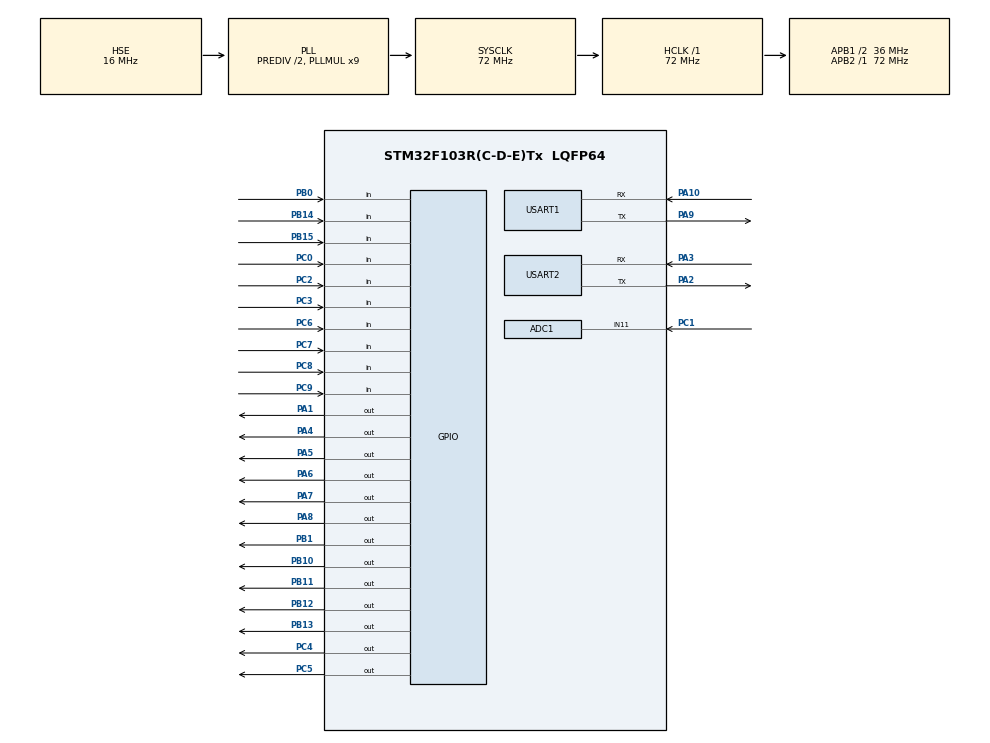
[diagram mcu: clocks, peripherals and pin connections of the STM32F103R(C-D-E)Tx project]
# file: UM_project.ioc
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ADC1.Channel-1\#ChannelRegularConversion=ADC_CHANNEL_11
ADC1.NbrOfConversionFlag=1
ADC1.Rank-1\#ChannelRegularConversion=1
ADC1.SamplingTime-1\#ChannelRegularConversion=ADC_SAMPLETIME_1CYCLE_5
ADC1.master=1
FREERTOS.HEAP_NUMBER=4
FREERTOS.Tasks01=UM_Task01,0,256,Start_UM_Task01,Default,NULL,Dynamic,NULL,NULL;UM_Task02,-1,256,Start_UM_Task02,Default,NULL,Dynamic,NULL,NULL;UM_Task03,-2,256,Start_UM_Task03,Default,NULL,Dynamic,NULL,NULL
FREERTOS.configMINIMAL_STACK_SIZE=128
FREERTOS.configTOTAL_HEAP_SIZE=10240
Mcu.Family=STM32F1
Mcu.Name=STM32F103R(C-D-E)Tx
Mcu.Package=LQFP64
NVIC.PriorityGroup=NVIC_PRIORITYGROUP_4
NVIC.TIM6_IRQn=true\:6\:0\:true\:false\:true\:true\:true\:true
NVIC.USART2_IRQn=true\:5\:0\:true\:false\:true\:true\:true\:true
PA1.GPIO_ModeDefaultOutputPP=GPIO_MODE_OUTPUT_PP
PA1.GPIO_PuPd=GPIO_NOPULL
PA1.GPIO_Speed=GPIO_SPEED_FREQ_LOW
PA1.PinState=GPIO_PIN_RESET
PA1.Signal=GPIO_Output
PA10.Mode=Asynchronous
PA10.Signal=USART1_RX
PA13.Mode=Serial_Wire
PA13.Signal=SYS_JTMS-SWDIO
PA14.Mode=Serial_Wire
PA14.Signal=SYS_JTCK-SWCLK
PA2.GPIO_Speed=GPIO_SPEED_FREQ_HIGH
PA2.Mode=Asynchronous
PA2.Signal=USART2_TX
PA3.GPIO_PuPd=GPIO_NOPULL
PA3.Mode=Asynchronous
PA3.Signal=USART2_RX
PA4.GPIO_ModeDefaultOutputPP=GPIO_MODE_OUTPUT_PP
PA4.GPIO_PuPd=GPIO_NOPULL
PA4.GPIO_Speed=GPIO_SPEED_FREQ_LOW
PA4.PinState=GPIO_PIN_RESET
PA4.Signal=GPIO_Output
PA5.GPIO_ModeDefaultOutputPP=GPIO_MODE_OUTPUT_PP
PA5.GPIO_PuPd=GPIO_NOPULL
PA5.GPIO_Speed=GPIO_SPEED_FREQ_LOW
PA5.PinState=GPIO_PIN_RESET
PA5.Signal=GPIO_Output
PA6.GPIO_ModeDefaultOutputPP=GPIO_MODE_OUTPUT_PP
PA6.GPIO_PuPd=GPIO_NOPULL
PA6.GPIO_Speed=GPIO_SPEED_FREQ_LOW
PA6.PinState=GPIO_PIN_RESET
PA6.Signal=GPIO_Output
PA7.GPIO_ModeDefaultOutputPP=GPIO_MODE_OUTPUT_PP
PA7.GPIO_PuPd=GPIO_NOPULL
PA7.GPIO_Speed=GPIO_SPEED_FREQ_LOW
PA7.PinState=GPIO_PIN_RESET
PA7.Signal=GPIO_Output
PA8.GPIO_ModeDefaultOutputPP=GPIO_MODE_OUTPUT_PP
PA8.GPIO_PuPd=GPIO_NOPULL
PA8.GPIO_Speed=GPIO_SPEED_FREQ_LOW
PA8.PinState=GPIO_PIN_RESET
PA8.Signal=GPIO_Output
PA9.Mode=Asynchronous
PA9.Signal=USART1_TX
PB0.GPIO_Mode=GPIO_MODE_INPUT
PB0.GPIO_PuPd=GPIO_NOPULL
PB0.Signal=GPIO_Input
PB1.GPIO_ModeDefaultOutputPP=GPIO_MODE_OUTPUT_PP
PB1.GPIO_PuPd=GPIO_NOPULL
PB1.GPIO_Speed=GPIO_SPEED_FREQ_LOW
PB1.PinState=GPIO_PIN_RESET
PB1.Signal=GPIO_Output
PB10.GPIO_ModeDefaultOutputPP=GPIO_MODE_OUTPUT_PP
PB10.GPIO_PuPd=GPIO_NOPULL
PB10.GPIO_Speed=GPIO_SPEED_FREQ_LOW
PB10.PinState=GPIO_PIN_RESET
PB10.Signal=GPIO_Output
PB11.GPIO_ModeDefaultOutputPP=GPIO_MODE_OUTPUT_PP
PB11.GPIO_PuPd=GPIO_NOPULL
PB11.GPIO_Speed=GPIO_SPEED_FREQ_LOW
PB11.PinState=GPIO_PIN_RESET
PB11.Signal=GPIO_Output
PB12.GPIO_ModeDefaultOutputPP=GPIO_MODE_OUTPUT_PP
PB12.GPIO_PuPd=GPIO_NOPULL
PB12.GPIO_Speed=GPIO_SPEED_FREQ_LOW
PB12.PinState=GPIO_PIN_RESET
PB12.Signal=GPIO_Output
PB13.GPIO_ModeDefaultOutputPP=GPIO_MODE_OUTPUT_PP
PB13.GPIO_PuPd=GPIO_NOPULL
PB13.GPIO_Speed=GPIO_SPEED_FREQ_LOW
PB13.PinState=GPIO_PIN_RESET
PB13.Signal=GPIO_Output
PB14.GPIO_Mode=GPIO_MODE_INPUT
PB14.GPIO_PuPd=GPIO_PULLUP
PB14.Signal=GPIO_Input
PB15.GPIO_Mode=GPIO_MODE_INPUT
PB15.GPIO_PuPd=GPIO_PULLUP
PB15.Signal=GPIO_Input
PC0.GPIO_Mode=GPIO_MODE_INPUT
PC0.GPIO_PuPd=GPIO_PULLDOWN
PC0.Signal=GPIO_Input
PC1.Signal=ADCx_IN11
PC2.GPIO_Mode=GPIO_MODE_INPUT
PC2.GPIO_PuPd=GPIO_PULLDOWN
PC2.Signal=GPIO_Input
PC3.GPIO_Mode=GPIO_MODE_INPUT
PC3.GPIO_PuPd=GPIO_NOPULL
PC3.Signal=GPIO_Input
PC4.GPIO_ModeDefaultOutputPP=GPIO_MODE_OUTPUT_PP
PC4.GPIO_PuPd=GPIO_NOPULL
PC4.GPIO_Speed=GPIO_SPEED_FREQ_LOW
PC4.PinState=GPIO_PIN_RESET
PC4.Signal=GPIO_Output
PC5.GPIO_ModeDefaultOutputPP=GPIO_MODE_OUTPUT_PP
PC5.GPIO_PuPd=GPIO_NOPULL
PC5.GPIO_Speed=GPIO_SPEED_FREQ_LOW
PC5.PinState=GPIO_PIN_RESET
PC5.Signal=GPIO_Output
PC6.GPIO_Mode=GPIO_MODE_INPUT
PC6.GPIO_PuPd=GPIO_PULLUP
PC6.Signal=GPIO_Input
PC7.GPIO_Mode=GPIO_MODE_INPUT
PC7.GPIO_PuPd=GPIO_PULLUP
PC7.Signal=GPIO_Input
PC8.GPIO_Mode=GPIO_MODE_INPUT
PC8.GPIO_PuPd=GPIO_PULLUP
PC8.Signal=GPIO_Input
PC9.GPIO_Mode=GPIO_MODE_INPUT
PC9.GPIO_PuPd=GPIO_PULLUP
PC9.Signal=GPIO_Input
PD0-OSC_IN.Mode=HSE-External-Oscillator
PD0-OSC_IN.Signal=RCC_OSC_IN
PD1-OSC_OUT.Mode=HSE-External-Oscillator
PD1-OSC_OUT.Signal=RCC_OSC_OUT
ProjectManager.HeapSize=0x2000
ProjectManager.StackSize=0x2000
ProjectManager.TargetToolchain=MDK-ARM V5
RCC.ADCPresc=RCC_ADCPCLK2_DIV6
RCC.AHBFreq_Value=72000000
RCC.APB1CLKDivider=RCC_HCLK_DIV2
RCC.APB1Freq_Value=36000000
RCC.APB1TimFreq_Value=72000000
RCC.APB2Freq_Value=72000000
RCC.APB2TimFreq_Value=72000000
RCC.HCLKFreq_Value=72000000
RCC.HSEDivPLL=RCC_HSE_PREDIV_DIV2
RCC.HSE_VALUE=16000000
RCC.PLLMUL=RCC_PLL_MUL9
RCC.PLLSourceVirtual=RCC_PLLSOURCE_HSE
RCC.PREFETCH_ENABLE=1
RCC.SYSCLKFreq_VALUE=72000000
RCC.SYSCLKSource=RCC_SYSCLKSOURCE_PLLCLK
RCC.USBFreq_Value=72000000
SH.ADCx_IN11.0=ADC1_IN11,IN11
TIM6.AutoReloadPreload=TIM_AUTORELOAD_PRELOAD_ENABLE
TIM6.Period=9999
TIM6.Prescaler=7199
USART1.VirtualMode=VM_ASYNC
USART2.VirtualMode=VM_ASYNC
VP_FREERTOS_VS_CMSIS_V1.Mode=CMSIS_V1
VP_TIM6_VS_ClockSourceINT.Mode=Enable_Timer
board=custom

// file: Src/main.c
/* USER CODE BEGIN Header */
/**
  ******************************************************************************
  * @file           : main.c
  * @brief          : Main program body
  ******************************************************************************
  * @attention
  *
  * <h2><center>&copy; Copyright (c) 2019 STMicroelectronics.
  * All rights reserved.</center></h2>
  *
  * This software component is licensed by ST under BSD 3-Clause license,
  * the "License"; You may not use this file except in compliance with the
  * License. You may obtain a copy of the License at:
  *                        opensource.org/licenses/BSD-3-Clause
  *
  ******************************************************************************
  */
/* USER CODE END Header */

#include "main.h"
#include "cmsis_os.h"
#include "adc.h"
#include "tim.h"
#include "usart.h"
#include "gpio.h"

/* USER CODE BEGIN Includes */
#include "stdio.h"
/* USER CODE END Includes */

/* USER CODE BEGIN PTD */

extern uint8_t Usart_Rx_Buffer[1];

//SemaphoreHandle_t xSemaphore1 = NULL;
//SemaphoreHandle_t xSemaphore2 = NULL;
//uint8_t Tx_Buffer[] = "*********串口发送**********\r\n";
//uint8_t Usart_Rx_Buffer[1];
//uint8_t Usart_Tx_Buffer[1];

//extern uint8_t Tim_Count;
//extern uint8_t L_Flag;
//extern uint8_t H_Flag;
//extern uint8_t System_Led_Flag;
//extern uint8_t X_Standard_Flag;
//extern uint8_t Y_Low_Flag;
//extern uint8_t Z_High_Flag;
//extern uint8_t Switch_Flag;
//extern uint8_t Start_Flag;

//extern uint16_t AD_Value;
/* USER CODE END PTD */

/* USER CODE BEGIN PV */
#define  USE_FULL_ASSERT
/* USER CODE END PV */

void SystemClock_Config(void);
void MX_FREERTOS_Init(void);

/* USER CODE BEGIN 0 */
SemaphoreHandle_t Test_Start_Semaphore = NULL;//Production test start
SemaphoreHandle_t Standard_Semaphore = NULL;//Start switch standard illumination
SemaphoreHandle_t Standard_Success_Semaphore = NULL;//Switch standard illumination success
SemaphoreHandle_t low_Semaphore = NULL;//Start switch low illumination
SemaphoreHandle_t low_Success_Semaphore = NULL;//Switch low illumination success
SemaphoreHandle_t High_Semaphore = NULL;//Start switch high illumination
SemaphoreHandle_t High_Success_Semaphore = NULL;//Switch high illumination success
SemaphoreHandle_t Low_Failure_Semaphore = NULL;//low illumination failure
SemaphoreHandle_t High_Failure_Semaphore = NULL;//high illumination failure
SemaphoreHandle_t Test_Pass_Semaphore = NULL;//Production test pass

//void HAL_TIM_PeriodElapsedCallback(TIM_HandleTypeDef *htim)
//{
//    /* Prevent unused argument(s) compilation warning */
////    UNUSED(htim);
////    printf("AD_Value = %d\r\n", AD_Value);
////    printf("Switch_Flag = %d,Start_Flag = %d,HAL_GPIO_ReadPin(GPIOC, GPIO_PIN_2) = %d\r\n", Switch_Flag,Start_Flag,HAL_GPIO_ReadPin(GPIOC, GPIO_PIN_2));
//    if (1 == System_Led_Flag)
//    {
//        if(GPIO_PIN_RESET == HAL_GPIO_ReadPin(GPIOA, GPIO_PIN_8))
//            HAL_GPIO_WritePin(GPIOA, GPIO_PIN_8, GPIO_PIN_SET);
//        else
//            HAL_GPIO_WritePin(GPIOA, GPIO_PIN_8, GPIO_PIN_RESET);
//    }
//    if (1 == L_Flag)
//    {
////        printf("AD_Value032 = %d\r\n", AD_Value);
//        if(!HAL_GPIO_ReadPin(GPIOA, GPIO_PIN_6))
//            HAL_GPIO_WritePin(GPIOA, GPIO_PIN_6, GPIO_PIN_SET);
//        else
//            HAL_GPIO_WritePin(GPIOA, GPIO_PIN_6, GPIO_PIN_RESET);
//    }
//    else if (1 == H_Flag)
//    {
////        printf("AD_Value033 = %d\r\n", AD_Value);
//        if(!HAL_GPIO_ReadPin(GPIOC, GPIO_PIN_4))
//            HAL_GPIO_WritePin(GPIOC, GPIO_PIN_4, GPIO_PIN_SET);
//        else
//            HAL_GPIO_WritePin(GPIOC, GPIO_PIN_4, GPIO_PIN_RESET);
//    }
//    if ((1 == X_Standard_Flag) || (1 == Y_Low_Flag) || (1 == Z_High_Flag))
//    {
//        Tim_Count++;
//        printf("Tim_Count = %d\r\n", Tim_Count);
//    }
//    /* NOTE : This function should not be modified, when the callback is needed,
//              the HAL_TIM_PeriodElapsedCallback could be implemented in the user file
//     */
//}

//void HAL_UART_RxCpltCallback(UART_HandleTypeDef *huart)
//{
////    printf ("++++++++++++++++++++++++++++++++++++++++++++++++\r\n");
//    if(huart->Instance == USART2)
//	{
////        printf ("----------------------------------------------\r\n");
////        printf ("Usart_Rx_Buffer = %d\r\n",(uint32_t)Usart_Rx_Buffer);
////		HAL_UART_Transmit(&huart2,Usart_Rx_Buffer,1,100);
//		HAL_UART_Receive_IT(&huart2,Usart_Rx_Buffer,1);
//	}
//}
/* USER CODE END 0 */

int main(void)
{

  /* MCU Configuration--------------------------------------------------------*/

  /* Reset of all peripherals, Initializes the Flash interface and the Systick. */
  HAL_Init();

  /* USER CODE BEGIN Init */
//	xSemaphore1 = xSemaphoreCreateBinary();
//	xSemaphore2 = xSemaphoreCreateBinary();
//    if( xSemaphore1 == NULL || xSemaphore2 == NULL)
//	{
//			// The semaphore was created successfully.
//        printf("The semaphore was created successfully\r\n");
//			// The semaphore can now be used.
//	}
  /* USER CODE END Init */

  /* Configure the system clock */
  SystemClock_Config();

  /* Initialize all configured peripherals */
  MX_GPIO_Init();
  MX_TIM6_Init();
  MX_USART1_UART_Init();
  MX_ADC1_Init();
  MX_USART2_UART_Init();
  /* USER CODE BEGIN 2 */

    HAL_UART_Receive_IT(&huart2,Usart_Rx_Buffer,1);
    HAL_TIM_Base_Start_IT(&htim6);
//    HAL_TIM_IC_Start_IT(&htim2, TIM_CHANNEL_4);
    Test_Start_Semaphore = xSemaphoreCreateBinary();
    Standard_Semaphore = xSemaphoreCreateBinary();
    Standard_Success_Semaphore = xSemaphoreCreateBinary();
    low_Semaphore = xSemaphoreCreateBinary();
    low_Success_Semaphore = xSemaphoreCreateBinary();
    High_Semaphore = xSemaphoreCreateBinary();
    High_Success_Semaphore = xSemaphoreCreateBinary();
    Low_Failure_Semaphore = xSemaphoreCreateBinary();
    High_Failure_Semaphore = xSemaphoreCreateBinary();
    Test_Pass_Semaphore = xSemaphoreCreateBinary();

  /* USER CODE END 2 */

  /* Call init function for freertos objects (in freertos.c) */
  MX_FREERTOS_Init();

  /* Start scheduler */
  osKernelStart();

  /* We should never get here as control is now taken by the scheduler */

  /* Infinite loop */
    while (1)
    {

    }
}

void SystemClock_Config(void)
{
  RCC_OscInitTypeDef RCC_OscInitStruct = {0};
  RCC_ClkInitTypeDef RCC_ClkInitStruct = {0};
  RCC_PeriphCLKInitTypeDef PeriphClkInit = {0};

  /** Initializes the CPU, AHB and APB busses clocks
  */
  RCC_OscInitStruct.OscillatorType = RCC_OSCILLATORTYPE_HSE;
  RCC_OscInitStruct.HSEState = RCC_HSE_ON;
  RCC_OscInitStruct.HSEPredivValue = RCC_HSE_PREDIV_DIV2;
  RCC_OscInitStruct.HSIState = RCC_HSI_ON;
  RCC_OscInitStruct.PLL.PLLState = RCC_PLL_ON;
  RCC_OscInitStruct.PLL.PLLSource = RCC_PLLSOURCE_HSE;
  RCC_OscInitStruct.PLL.PLLMUL = RCC_PLL_MUL9;
  if (HAL_RCC_OscConfig(&RCC_OscInitStruct) != HAL_OK)
  {
    Error_Handler();
  }
  /** Initializes the CPU, AHB and APB busses clocks
  */
  RCC_ClkInitStruct.ClockType = RCC_CLOCKTYPE_HCLK|RCC_CLOCKTYPE_SYSCLK
                              |RCC_CLOCKTYPE_PCLK1|RCC_CLOCKTYPE_PCLK2;
  RCC_ClkInitStruct.SYSCLKSource = RCC_SYSCLKSOURCE_PLLCLK;
  RCC_ClkInitStruct.AHBCLKDivider = RCC_SYSCLK_DIV1;
  RCC_ClkInitStruct.APB1CLKDivider = RCC_HCLK_DIV2;
  RCC_ClkInitStruct.APB2CLKDivider = RCC_HCLK_DIV1;

  if (HAL_RCC_ClockConfig(&RCC_ClkInitStruct, FLASH_LATENCY_2) != HAL_OK)
  {
    Error_Handler();
  }
  PeriphClkInit.PeriphClockSelection = RCC_PERIPHCLK_ADC;
  PeriphClkInit.AdcClockSelection = RCC_ADCPCLK2_DIV6;
  if (HAL_RCCEx_PeriphCLKConfig(&PeriphClkInit) != HAL_OK)
  {
    Error_Handler();
  }
}

void Error_Handler(void)
{
}

/************************ (C) COPYRIGHT STMicroelectronics *****END OF FILE****/

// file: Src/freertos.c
/* USER CODE BEGIN Header */
/**
  ******************************************************************************
  * File Name          : freertos.c
  * Description        : Code for freertos applications
  ******************************************************************************
  * @attention
  *
  * <h2><center>&copy; Copyright (c) 2019 STMicroelectronics.
  * All rights reserved.</center></h2>
  *
  * This software component is licensed by ST under Ultimate Liberty license
  * SLA0044, the "License"; You may not use this file except in compliance with
  * the License. You may obtain a copy of the License at:
  *                             www.st.com/SLA0044
  *
  ******************************************************************************
  */
/* USER CODE END Header */

#include "FreeRTOS.h"
#include "task.h"
#include "main.h"
#include "cmsis_os.h"

/* USER CODE BEGIN Includes */
#include "stdio.h"
/* USER CODE END Includes */

/* USER CODE BEGIN PTD */

uint8_t Switch_Flag = 0;
uint8_t Gpio_Pin_State = 0;
uint8_t Start_Flag = 0;
uint8_t Switch_Light_Flag = 0;
uint8_t Task1_Print_Time = 0;
uint8_t Task2_Print_Time = 0;

uint16_t AD_Value = 0;

volatile uint8_t L_Flag = 0;
volatile uint8_t H_Flag = 0;
volatile uint8_t System_Led_Flag = 0;
volatile uint8_t System_Led_Count = 0;
volatile uint8_t Tim_Count = 0;
volatile uint8_t X_Standard_Flag = 0;
volatile uint8_t X_Standard_Tim = 0;
volatile uint8_t Y_Low_Flag = 0;
volatile uint8_t Y_Low_Tim = 0;
volatile uint8_t Z_High_Flag = 0;
volatile uint8_t Z_High_Tim = 0;

extern SemaphoreHandle_t Test_Start_Semaphore;
extern SemaphoreHandle_t Standard_Semaphore;//Switch standard illumination
extern SemaphoreHandle_t Standard_Success_Semaphore;//Switch standard illumination success
extern SemaphoreHandle_t low_Semaphore;//Switch low illumination
extern SemaphoreHandle_t low_Success_Semaphore;//Switch low illumination success
extern SemaphoreHandle_t High_Semaphore;//Switch high illumination
extern SemaphoreHandle_t High_Success_Semaphore;//Switch high illumination success
extern SemaphoreHandle_t Low_Failure_Semaphore;//low illumination failure
extern SemaphoreHandle_t High_Failure_Semaphore;//high illumination failure
extern SemaphoreHandle_t Test_Pass_Semaphore;//Production test pass
extern uint8_t Usart_Rx_Buffer [1];
extern uint8_t Low_Leval_Count;
extern ADC_HandleTypeDef hadc1;
/* USER CODE END PTD */

osThreadId UM_Task01Handle;
osThreadId UM_Task02Handle;
osThreadId UM_Task03Handle;

/* USER CODE BEGIN FunctionPrototypes */

//extern SemaphoreHandle_t xSemaphore1;
//extern SemaphoreHandle_t xSemaphore2;

/* USER CODE END FunctionPrototypes */

void Start_UM_Task01(void const * argument);
void Start_UM_Task02(void const * argument);
void Start_UM_Task03(void const * argument);

void MX_FREERTOS_Init(void); /* (MISRA C 2004 rule 8.1) */

/* GetIdleTaskMemory prototype (linked to static allocation support) */
void vApplicationGetIdleTaskMemory( StaticTask_t **ppxIdleTaskTCBBuffer, StackType_t **ppxIdleTaskStackBuffer, uint32_t *pulIdleTaskStackSize );

/* USER CODE BEGIN GET_IDLE_TASK_MEMORY */
static StaticTask_t xIdleTaskTCBBuffer;
static StackType_t xIdleStack[configMINIMAL_STACK_SIZE];

void vApplicationGetIdleTaskMemory( StaticTask_t **ppxIdleTaskTCBBuffer, StackType_t **ppxIdleTaskStackBuffer, uint32_t *pulIdleTaskStackSize )
{
    *ppxIdleTaskTCBBuffer = &xIdleTaskTCBBuffer;
    *ppxIdleTaskStackBuffer = &xIdleStack[0];
    *pulIdleTaskStackSize = configMINIMAL_STACK_SIZE;
    /* place for user code */
}
/* USER CODE END GET_IDLE_TASK_MEMORY */

void MX_FREERTOS_Init(void) {

  /* Create the thread(s) */
  /* definition and creation of UM_Task01 */
  osThreadDef(UM_Task01, Start_UM_Task01, osPriorityNormal, 0, 256);
  UM_Task01Handle = osThreadCreate(osThread(UM_Task01), NULL);

  /* definition and creation of UM_Task02 */
  osThreadDef(UM_Task02, Start_UM_Task02, osPriorityBelowNormal, 0, 256);
  UM_Task02Handle = osThreadCreate(osThread(UM_Task02), NULL);

  /* definition and creation of UM_Task03 */
  osThreadDef(UM_Task03, Start_UM_Task03, osPriorityLow, 0, 256);
  UM_Task03Handle = osThreadCreate(osThread(UM_Task03), NULL);

}

void Start_UM_Task01(void const * argument)
{
  /* USER CODE BEGIN Start_UM_Task01 */
    /* Infinite loop */
    for(;;)
    {
        if (0 == Start_Flag)
        {
//            if ((0 == Key_Value) && (GPIO_PIN_RESET == HAL_GPIO_ReadPin(GPIOB, GPIO_PIN_0)))
            if (GPIO_PIN_RESET == HAL_GPIO_ReadPin(GPIOB, GPIO_PIN_0))
            {
                osDelay(10);
                if (GPIO_PIN_RESET == HAL_GPIO_ReadPin(GPIOB, GPIO_PIN_0))
                {
                    while(GPIO_PIN_RESET == HAL_GPIO_ReadPin(GPIOB, GPIO_PIN_0))
                    {
                        osDelay(10);
                    }
                    Switch_Light_Flag++;
                }
            }
            if (Switch_Light_Flag >= 3)
                Switch_Light_Flag = 0;
            switch (Switch_Light_Flag)
            {
            case 0:
            {
                HAL_GPIO_WritePin(GPIOA, GPIO_PIN_1, GPIO_PIN_SET);
                HAL_GPIO_WritePin(GPIOA, GPIO_PIN_4, GPIO_PIN_RESET);
                HAL_GPIO_WritePin(GPIOA, GPIO_PIN_5, GPIO_PIN_RESET);

                HAL_GPIO_WritePin(GPIOB, GPIO_PIN_1, GPIO_PIN_RESET);
                HAL_GPIO_WritePin(GPIOB, GPIO_PIN_10, GPIO_PIN_SET);
                HAL_GPIO_WritePin(GPIOB, GPIO_PIN_11, GPIO_PIN_SET);
                break;
            }
            case 1:
            {
                HAL_GPIO_WritePin(GPIOA, GPIO_PIN_1, GPIO_PIN_RESET);
                HAL_GPIO_WritePin(GPIOA, GPIO_PIN_4, GPIO_PIN_SET);
                HAL_GPIO_WritePin(GPIOA, GPIO_PIN_5, GPIO_PIN_RESET);

                HAL_GPIO_WritePin(GPIOB, GPIO_PIN_1, GPIO_PIN_SET);
                HAL_GPIO_WritePin(GPIOB, GPIO_PIN_10, GPIO_PIN_RESET);
                HAL_GPIO_WritePin(GPIOB, GPIO_PIN_11, GPIO_PIN_SET);
                break;
            }
            case 2:
            {
                HAL_GPIO_WritePin(GPIOA, GPIO_PIN_1, GPIO_PIN_RESET);
                HAL_GPIO_WritePin(GPIOA, GPIO_PIN_4, GPIO_PIN_RESET);
                HAL_GPIO_WritePin(GPIOA, GPIO_PIN_5, GPIO_PIN_SET);

                HAL_GPIO_WritePin(GPIOB, GPIO_PIN_1, GPIO_PIN_SET);
                HAL_GPIO_WritePin(GPIOB, GPIO_PIN_10, GPIO_PIN_SET);
                HAL_GPIO_WritePin(GPIOB, GPIO_PIN_11, GPIO_PIN_RESET);
                break;
            }
            default:
                break;
            }
        }
        if (0 == Switch_Flag)
        {
            HAL_GPIO_WritePin(GPIOA, GPIO_PIN_6, GPIO_PIN_SET);
            HAL_GPIO_WritePin(GPIOA, GPIO_PIN_7, GPIO_PIN_SET);//dizhaodushibai
            HAL_GPIO_WritePin(GPIOC, GPIO_PIN_4, GPIO_PIN_SET);
            HAL_GPIO_WritePin(GPIOC, GPIO_PIN_5, GPIO_PIN_SET);//gaozhaodushibai
            HAL_GPIO_WritePin(GPIOB, GPIO_PIN_12, GPIO_PIN_SET);
            HAL_GPIO_WritePin(GPIOB, GPIO_PIN_13, GPIO_PIN_SET);
//            printf("------------------------------\r\n");
            System_Led_Flag = 1;
            Gpio_Pin_State =
                ((HAL_GPIO_ReadPin(GPIOB, GPIO_PIN_14) << 5) +
                 (HAL_GPIO_ReadPin(GPIOB, GPIO_PIN_15) << 4) +
                 (HAL_GPIO_ReadPin(GPIOC, GPIO_PIN_6) << 3) +
                 (HAL_GPIO_ReadPin(GPIOC, GPIO_PIN_7) << 2) +
                 (HAL_GPIO_ReadPin(GPIOC, GPIO_PIN_8) << 1) +
                 (HAL_GPIO_ReadPin(GPIOC, GPIO_PIN_9)));

            switch (Gpio_Pin_State)
            {
            case 1:
            {
                X_Standard_Tim = 0;
                Y_Low_Tim = 10;
                Z_High_Tim = 25;
                break;
            }
            case 2:
            {
                X_Standard_Tim = 5;
                Y_Low_Tim = 8;
                Z_High_Tim = 8;
                break;
            }
            case 3:
            {
                X_Standard_Tim = 5;
                Y_Low_Tim = 8;
                Z_High_Tim = 8;
                break;
            }
            case 4:
            {
                X_Standard_Tim = 5;
                Y_Low_Tim = 8;
                Z_High_Tim = 8;
                break;
            }
            case 5:
            {
                X_Standard_Tim = 5;
                Y_Low_Tim = 8;
                Z_High_Tim = 8;
                break;
            }
            default:
                break;
            }
            if (100 == Task1_Print_Time++)
            {
                printf("Gpio_Pin_State = %d\r\n", Gpio_Pin_State);
                printf("X_Standard_Tim = %d,Y_Low_Tim = %d,Z_High_Tim = %d\r\n", X_Standard_Tim, Y_Low_Tim, Z_High_Tim);
                printf("--1bit = %d,--2bit = %d,--3bit = %d,--4bit = %d,--5bit = %d,--6bit = %d\r\n", (HAL_GPIO_ReadPin(GPIOB, GPIO_PIN_14)),
                       (HAL_GPIO_ReadPin(GPIOB, GPIO_PIN_15)), (HAL_GPIO_ReadPin(GPIOC, GPIO_PIN_6)), (HAL_GPIO_ReadPin(GPIOC, GPIO_PIN_7)),
                       (HAL_GPIO_ReadPin(GPIOC, GPIO_PIN_8)), (HAL_GPIO_ReadPin(GPIOC, GPIO_PIN_9)));
                Task1_Print_Time = 0;
            }
        }
//        if ((1 == Switch_Flag) && (0 == Start_Flag) && (Test_Start_Semaphore != NULL) && (GPIO_PIN_SET == HAL_GPIO_ReadPin(GPIOC, GPIO_PIN_2)))
        if ((0 == Switch_Flag) && (0 == Start_Flag) && (Test_Start_Semaphore != NULL) && (GPIO_PIN_SET == HAL_GPIO_ReadPin(GPIOC, GPIO_PIN_2)))
        {
            osDelay(10);
            if ((0 == Switch_Flag) && (0 == Start_Flag) && (Test_Start_Semaphore != NULL) && (GPIO_PIN_SET == HAL_GPIO_ReadPin(GPIOC, GPIO_PIN_2)))
            {
                printf("测试开始...\r\n");
    //            taskENTER_CRITICAL();
                if (xSemaphoreGive(Test_Start_Semaphore) == pdTRUE)
                {
                    // We would expect this call to fail because we cannot give
                    // a semaphore without first "taking" it!
                    Start_Flag = 1;
                    Switch_Flag = 1;
                }
    //            taskEXIT_CRITICAL();
            }
        }

        else if ((GPIO_PIN_RESET == HAL_GPIO_ReadPin(GPIOC, GPIO_PIN_2)) && (1 == Start_Flag))//ceshijieshu
        {
            Switch_Flag = 0;
            Start_Flag = 0;
            L_Flag = 0;
            H_Flag = 0;
            Switch_Light_Flag = 0;
            Gpio_Pin_State = 0;
//            System_Led_Flag = 0;
            Low_Leval_Count = 0;
            Tim_Count = 0;
            X_Standard_Flag = 0;
            X_Standard_Tim = 0;
            Y_Low_Flag = 0;
            Y_Low_Tim = 0;
            Z_High_Flag = 0;
            Z_High_Tim = 0;
        }
        osDelay(100);
//        vTaskDelay(600);
    }
  /* USER CODE END Start_UM_Task01 */
}

void Start_UM_Task02(void const * argument)
{
  /* USER CODE BEGIN Start_UM_Task02 */
    /* Infinite loop */
    for(;;)
    {
        HAL_ADC_Start(&hadc1);
        if (HAL_OK == HAL_ADC_PollForConversion(&hadc1, 0xff))
        {
            AD_Value = HAL_ADC_GetValue(&hadc1);
//            if(15 == Task2_Print_Time++)
//            {
//                Task2_Print_Time = 0;
                printf("AD_Value = %d\r\n", AD_Value);
//            }
        }
        printf ("-----Low_Leval_Count==%d\r\n", Low_Leval_Count);/////////////////////////////////
//            taskENTER_CRITICAL();
//        if ((0 == X_Standard_Flag) && (xSemaphoreTake(Test_Start_Semaphore, osWaitForever) == pdTRUE))
        if ((0 == X_Standard_Flag) && (xSemaphoreTake(Test_Start_Semaphore, 10) == pdTRUE))
        {
            // We were able to obtain the semaphore and can now access the
            // shared resource.
            if (Standard_Semaphore != NULL)
            {
                if (xSemaphoreGive(Standard_Semaphore) == pdTRUE)
                {
                    Low_Leval_Count = 0;
                    printf("切换为标准照度...\r\n");
                }
            }
        }
//            taskEXIT_CRITICAL();
        if (xSemaphoreTake(Standard_Success_Semaphore, 10) == pdTRUE )
        {
            X_Standard_Flag = 1;
        }
//        if ((Tim_Count > X_Standard_Tim) && (1 == X_Standard_Flag))
        if ((1 == X_Standard_Flag) && (Tim_Count > X_Standard_Tim))
        {
            printf("切换为低照度...\r\n");
            if (low_Semaphore != NULL)
            {
                if (xSemaphoreGive(low_Semaphore) == pdTRUE)
                {
                    Tim_Count = 0;
                    X_Standard_Flag = 0;
                }
            }
        }

        if (xSemaphoreTake(low_Success_Semaphore, 10) == pdTRUE )
        {
            Y_Low_Flag = 1;
        }
        if ((1 == Y_Low_Flag) && (Tim_Count <= Y_Low_Tim))
        {
//            printf("低照度等待%ds...\r\n",Tim_Count);
            switch (Gpio_Pin_State) {
            case 1:
            {
                if (AD_Value >= 2600)
                {
                    printf("低照度开灯成功...\r\n");
                    if (xSemaphoreGive(High_Semaphore) == pdTRUE)
                    {
                        printf("切换为高照度...\r\n");
                        Y_Low_Flag = 0;
                        Tim_Count = 0;
                    }
                }
                break;
            }
            case 2:
            {
                if (AD_Value >= 4000)
                {
                    printf("低照度开灯成功...\r\n");
                    if (xSemaphoreGive(High_Semaphore) == pdTRUE)
                    {
                        printf("切换为高照度...\r\n");
                        Y_Low_Flag = 0;
                        Tim_Count = 0;
                    }
                }
                break;
            }
            case 3:
            {
//                printf ("-----Low_Leval_Count==%d\r\n", Low_Leval_Count);//////////////////////////
                if (16 == Low_Leval_Count)
                {
                    printf("低照度开灯成功...\r\n");
                    if (xSemaphoreGive(High_Semaphore) == pdTRUE)
                    {
                        printf("切换为高照度...\r\n");
                        Low_Leval_Count = 0;
                        Y_Low_Flag = 0;
                        Tim_Count = 0;
                    }
                }
                break;
            }
            case 4:
            {
                if (AD_Value >= 4000)
                {
                    printf("低照度开灯成功...\r\n");
                    if (xSemaphoreGive(High_Semaphore) == pdTRUE)
                    {
                        printf("切换为高照度...\r\n");
                        Y_Low_Flag = 0;
                        Tim_Count = 0;
                    }
                }
                break;
            }
            case 5:
            {
                if ((GPIO_PIN_SET == HAL_GPIO_ReadPin(GPIOC, GPIO_PIN_0)) && (16 == Low_Leval_Count))
                {
                    printf("低照度开灯成功...\r\n");
                    if (xSemaphoreGive(High_Semaphore) == pdTRUE)
                    {
                        printf("切换为高照度...\r\n");
                        Y_Low_Flag = 0;
                        Tim_Count = 0;
                    }
                }
                break;
            }
            default:
                break;
            }
        }

        else if ((1 == Y_Low_Flag) && (Tim_Count > Y_Low_Tim))
        {
            printf("低照度测试失败...\r\n");
            if (xSemaphoreGive(Low_Failure_Semaphore) == pdTRUE)
            {
                Y_Low_Flag = 0;
                Tim_Count = 0;
            }
        }
        if (xSemaphoreTake(High_Success_Semaphore, 10) == pdTRUE )
        {
            Z_High_Flag = 1;
        }
        if ((1 == Z_High_Flag) && (Tim_Count <= Z_High_Tim))
        {
//            printf("高照度等待%ds...\r\n",Tim_Count);
            switch (Gpio_Pin_State){
            case 1:
            {
                if (AD_Value < 30)
                {
                    printf("高照度关灯成功...\r\n");
                    if (xSemaphoreGive(Test_Pass_Semaphore) == pdTRUE)
                    {
                        Z_High_Flag = 0;
                        Tim_Count = 0;
                    }

                }
                break;
            }
            case 2:
            {
                if (AD_Value < 30)
                {
                    printf("高照度关灯成功...\r\n");
                    if (xSemaphoreGive(Test_Pass_Semaphore) == pdTRUE)
                    {
                        Z_High_Flag = 0;
                        Tim_Count = 0;
                    }

                }
                break;
            }
            case 3:
            {
//                printf ("-----Low_Leval_Count==%d\r\n", Low_Leval_Count);////////////////////////////////
                if (17 == Low_Leval_Count)
                {
                    printf("高照度关灯成功...\r\n");
                    if (xSemaphoreGive(Test_Pass_Semaphore) == pdTRUE)
                    {
                        Low_Leval_Count = 0;
                        Z_High_Flag = 0;
                        Tim_Count = 0;
                    }

                }
                break;
            }
            case 4:
            {
                if (AD_Value < 125)
                {
                    printf("高照度关灯成功...\r\n");
                    if (xSemaphoreGive(Test_Pass_Semaphore) == pdTRUE)
                    {
                        Z_High_Flag = 0;
                        Tim_Count = 0;
                    }

                }
                break;
            }
            case 5:
            {
                if ((GPIO_PIN_RESET == HAL_GPIO_ReadPin(GPIOC, GPIO_PIN_0)) && (17 == Low_Leval_Count))
                {
                    printf("高照度关灯成功...\r\n");
                    if (xSemaphoreGive(Test_Pass_Semaphore) == pdTRUE)
                    {
                        Z_High_Flag = 0;
                        Tim_Count = 0;
                    }

                }
                break;
            }
            default:
                break;
            }
        }

        else if ((1 == Z_High_Flag) && (Tim_Count > Z_High_Tim))
        {
            printf("高照度测试失败...\r\n");
            if (xSemaphoreGive(High_Failure_Semaphore) == pdTRUE)
            {
                Z_High_Flag = 0;
                Tim_Count = 0;
            }
        }

        osDelay(100);
//        vTaskDelay(600);
    }
  /* USER CODE END Start_UM_Task02 */
}

void Start_UM_Task03(void const * argument)
{
  /* USER CODE BEGIN Start_UM_Task03 */
    /* Infinite loop */
    for(;;)
    {
        if (xSemaphoreTake(Standard_Semaphore, 10) == pdTRUE )
        {
            printf("标准照度打开\r\n");
            HAL_GPIO_WritePin(GPIOA, GPIO_PIN_1, GPIO_PIN_SET);
            HAL_GPIO_WritePin(GPIOA, GPIO_PIN_4, GPIO_PIN_RESET);
            HAL_GPIO_WritePin(GPIOA, GPIO_PIN_5, GPIO_PIN_RESET);

            HAL_GPIO_WritePin(GPIOB, GPIO_PIN_1, GPIO_PIN_RESET);
            HAL_GPIO_WritePin(GPIOB, GPIO_PIN_10, GPIO_PIN_SET);
            HAL_GPIO_WritePin(GPIOB, GPIO_PIN_11, GPIO_PIN_SET);
            if (Standard_Success_Semaphore != NULL)
            {
                if (xSemaphoreGive(Standard_Success_Semaphore) == pdTRUE)
                {
                }
            }
        }
//        printf("This is task03\r\n");
        else if (xSemaphoreTake(low_Semaphore, 10) == pdTRUE )
        {
            printf("低照度打开\r\n");
            HAL_GPIO_WritePin(GPIOA, GPIO_PIN_1, GPIO_PIN_RESET);
            HAL_GPIO_WritePin(GPIOA, GPIO_PIN_4, GPIO_PIN_SET);
            HAL_GPIO_WritePin(GPIOA, GPIO_PIN_5, GPIO_PIN_RESET);

            HAL_GPIO_WritePin(GPIOB, GPIO_PIN_1, GPIO_PIN_SET);
            HAL_GPIO_WritePin(GPIOB, GPIO_PIN_10, GPIO_PIN_RESET);
            HAL_GPIO_WritePin(GPIOB, GPIO_PIN_11, GPIO_PIN_SET);
            if (low_Success_Semaphore != NULL)
            {
                if (xSemaphoreGive(low_Success_Semaphore) == pdTRUE)
                {
                    L_Flag = 1;
                }
            }
        }
        else if (xSemaphoreTake(Low_Failure_Semaphore, 10) == pdTRUE )
        {
            printf("低照度测试失败\r\n");
            HAL_GPIO_WritePin(GPIOA, GPIO_PIN_6, GPIO_PIN_SET);

            HAL_GPIO_WritePin(GPIOB, GPIO_PIN_13, GPIO_PIN_RESET);
            HAL_GPIO_WritePin(GPIOA, GPIO_PIN_7, GPIO_PIN_RESET);//dizhaodushibai
            L_Flag = 0;
        }
        else if (xSemaphoreTake(High_Semaphore, 10) == pdTRUE )
        {
            printf("高照度打开\r\n");
            HAL_GPIO_WritePin(GPIOA, GPIO_PIN_6, GPIO_PIN_RESET);
            HAL_GPIO_WritePin(GPIOA, GPIO_PIN_5, GPIO_PIN_SET);
            HAL_GPIO_WritePin(GPIOA, GPIO_PIN_1, GPIO_PIN_RESET);
            HAL_GPIO_WritePin(GPIOA, GPIO_PIN_4, GPIO_PIN_RESET);

            HAL_GPIO_WritePin(GPIOB, GPIO_PIN_1, GPIO_PIN_SET);
            HAL_GPIO_WritePin(GPIOB, GPIO_PIN_10, GPIO_PIN_SET);
            HAL_GPIO_WritePin(GPIOB, GPIO_PIN_11, GPIO_PIN_RESET);
            if (High_Success_Semaphore != NULL)
            {
                if (xSemaphoreGive(High_Success_Semaphore) == pdTRUE)
                {
                    H_Flag = 1;
                    L_Flag = 0;
                }
            }
        }
        else if (xSemaphoreTake(High_Failure_Semaphore, 10) == pdTRUE )
        {
            printf("测试失败\r\n");
            HAL_GPIO_WritePin(GPIOC, GPIO_PIN_4, GPIO_PIN_SET);
            HAL_GPIO_WritePin(GPIOB, GPIO_PIN_13, GPIO_PIN_RESET);
            HAL_GPIO_WritePin(GPIOC, GPIO_PIN_5, GPIO_PIN_RESET);//gaozhaodushibai
            H_Flag = 0;
        }
        else if (xSemaphoreTake(Test_Pass_Semaphore, 10) == pdTRUE )
        {
            printf("测试完成\r\n");
            HAL_GPIO_WritePin(GPIOB, GPIO_PIN_12, GPIO_PIN_RESET);
            HAL_GPIO_WritePin(GPIOC, GPIO_PIN_4, GPIO_PIN_RESET);
            H_Flag = 0;
        }
        osDelay(100);
    }
  /* USER CODE END Start_UM_Task03 */
}

/************************ (C) COPYRIGHT STMicroelectronics *****END OF FILE****/
